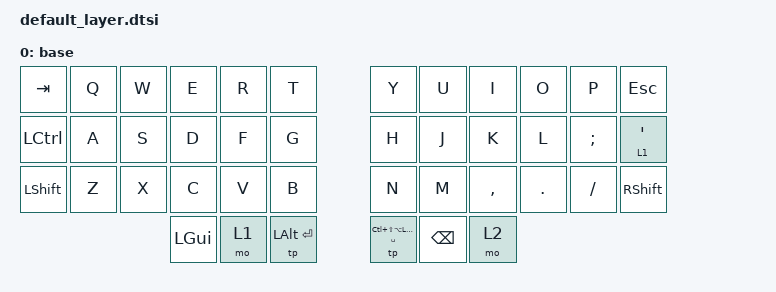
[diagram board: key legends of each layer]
/ {
  keymap {
    compatible = "zmk,keymap";

    default_layer {
      display-name="base";

// -----------------------------------------------------------------------------------------
// | TAB  |  Q  |  W  |  E  |  R  |    T    |   |  Y  |  U   |  I  |  O  |  P  | ESC |
// | CTRL |  A  |  S  |  D  |  F  |    G    |   |  H  |  J   |  K  |  L  |  ;  |  LWR/'   |
// | SHFT |  Z  |  X  |  C  |  V  |    B    |   |  N  |  M   |  ,  |  .  |  /  | SHFT |
//                    | GUI | LWR | ALT/ENT |   | HYPER/SPC | BKSP  | RSE |
      bindings = <
   &kp TAB   &kp Q &kp W &kp E &kp R &kp T   &kp Y &kp U  &kp I     &kp O   &kp P    &kp ESC
   &kp LCTRL &kp A &kp S &kp D &kp F &kp G   &kp H &kp J  &kp K     &kp L   &kp SEMI &lt 1 SQT
   &kp LSHFT &kp Z &kp X &kp C &kp V &kp B   &kp N &kp M  &kp COMMA &kp DOT &kp FSLH &kp RSHFT 
               &kp LGUI &mo 1 &tp LALT RET   &tp LC(LS(LA(LGUI))) SPACE &kp BSPC &mo 2
      >;
    };
  };
};
